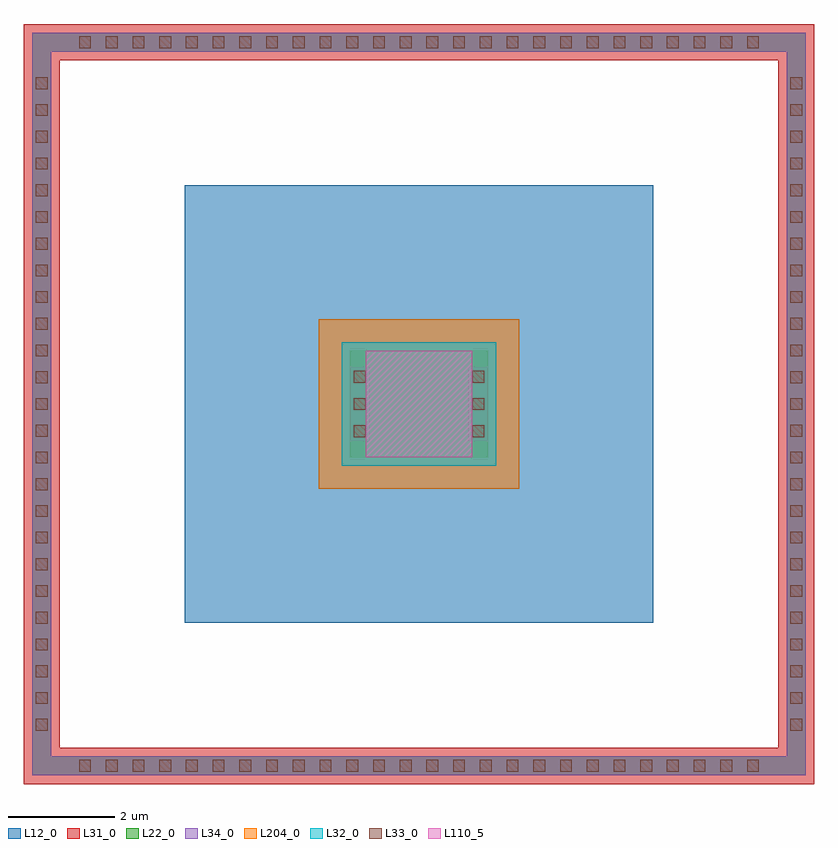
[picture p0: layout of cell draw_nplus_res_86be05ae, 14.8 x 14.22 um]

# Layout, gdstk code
import gdstk
lib = gdstk.Library(unit=1e-6, precision=1e-09)
def R(c, l, rs):  # rectangles x0, y0, x1, y1
    for r in rs: c.add(gdstk.rectangle(r[:2], r[2:], *l))
def A(c, l, x, y, w, h, nx, ny, dx, dy):  # array of equal rectangles
    R(c, l, [(x+i*dx, y+j*dy, x+i*dx+w, y+j*dy+h) for i in range(nx) for j in range(ny)])
def P(c, l, *ps):  # polygons
    for p in ps: c.add(gdstk.Polygon(p, *l))
L12_0 = (12, 0)
L22_0 = (22, 0)
L31_0 = (31, 0)
L32_0 = (32, 0)
L33_0 = (33, 0)
L34_0 = (34, 0)
L110_5 = (110, 5)
L204_0 = (204, 0)

draw_nplus_res_86be05ae = lib.new_cell('draw_nplus_res_86be05ae')
R(draw_nplus_res_86be05ae, L12_0, [(-3.38,-3.09,5.38,5.09)])
R(draw_nplus_res_86be05ae, L22_0, [(-0.29,0,2.29,2)])
P(draw_nplus_res_86be05ae, L22_0, [(8.24,7.95),(-6.24,7.95),(-6.24,-5.59),(-5.88,-5.59),(-5.88,7.59),(7.88,7.59),(7.88,-5.59),(-5.88,-5.59),(-6.24,-5.59),(-6.24,-5.95),(8.24,-5.95)])
P(draw_nplus_res_86be05ae, L31_0, [(8.4,8.11),(-6.4,8.11),(-6.4,-5.43),(-5.72,-5.43),(-5.72,7.43),(7.72,7.43),(7.72,-5.43),(-5.72,-5.43),(-6.4,-5.43),(-6.4,-6.11),(8.4,-6.11)])
R(draw_nplus_res_86be05ae, L32_0, [(-0.45,-0.16,2.45,2.16)])
A(draw_nplus_res_86be05ae, L33_0, -5.36, -5.88, 0.22, 0.22, 26, 2, 0.5, 13.54)
A(draw_nplus_res_86be05ae, L33_0, -6.17, -5.11, 0.22, 0.22, 1, 25, 0, 0.5)
A(draw_nplus_res_86be05ae, L33_0, 7.95, -5.11, 0.22, 0.22, 1, 25, 0, 0.5)
A(draw_nplus_res_86be05ae, L33_0, -0.22, 0.38, 0.22, 0.22, 1, 3, 0, 0.51)
A(draw_nplus_res_86be05ae, L33_0, 2, 0.38, 0.22, 0.22, 1, 3, 0, 0.51)
R(draw_nplus_res_86be05ae, L34_0, [(-0.3,0.3,0.08,1.7), (1.92,0.3,2.3,1.7)])
P(draw_nplus_res_86be05ae, L34_0, [(8.24,7.95),(-6.24,7.95),(-6.24,-5.59),(-5.88,-5.59),(-5.88,7.59),(7.88,7.59),(7.88,-5.59),(-5.88,-5.59),(-6.24,-5.59),(-6.24,-5.95),(8.24,-5.95)])
R(draw_nplus_res_86be05ae, L110_5, [(0,0,2,2)])
R(draw_nplus_res_86be05ae, L204_0, [(-0.88,-0.59,2.88,2.59)])

lib.write_gds('draw_nplus_res_86be05ae.gds')
